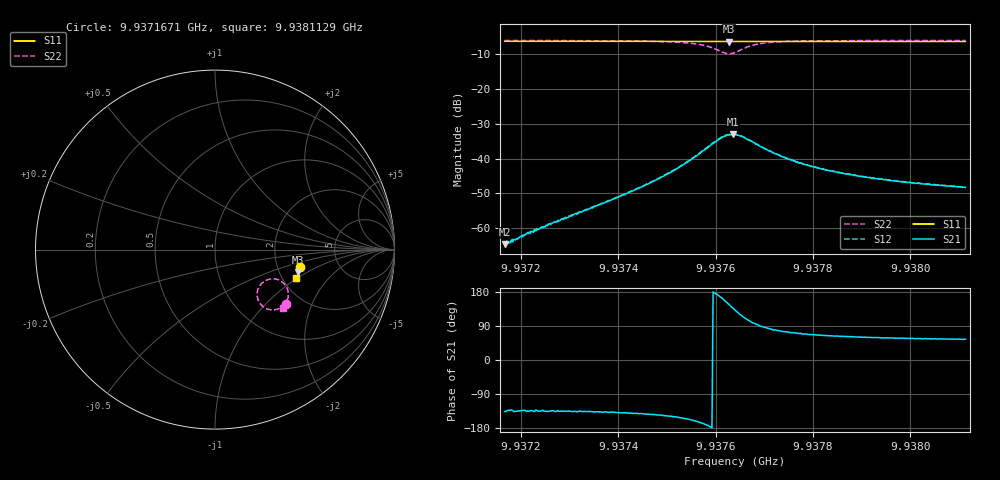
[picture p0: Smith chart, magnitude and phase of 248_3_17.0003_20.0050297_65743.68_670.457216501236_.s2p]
#  HZ  S  RI  R  50.00
! Rohde & Schwarz Vector Network Analyzer
! Rohde-Schwarz,ZNB20-2Port,1311601062101988,3.16
! Created: UTC 3/20/2024, 11:03:10 PM
! freq[Hz]  re:S11  im:S11  re:S21  im:S21  re:S12  im:S12  re:S22  im:S22
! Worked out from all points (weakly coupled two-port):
!   401 points, 9.9371671 GHz to 9.9381129 GHz, reference 50 ohm
!   highest |S21| = -33.02 dB at 9.9376352 GHz (marker M1); lowest = -64.6 dB at 9.9371671 GHz (marker M2)
!   lowest |S11| = -6.4 dB at 9.9376282 GHz (marker M3), VSWR 2.84, Z = 126 - j41.8 ohm
!   |S11| at or under -10 dB: nowhere
!   |S22| runs from -9.9 to -6.1 dB; largest |S21 - S12| = 0.001
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9.93716708e9  0.4739 -0.0983  -0.000425 -0.00041  -0.000402 -0.00038  0.3952 -0.3016
9.9371789e9  0.4737 -0.0989  -0.000437 -0.000468  -0.000439 -0.000429  0.3945 -0.3023
9.93721673e9  0.473 -0.1015  -0.0006 -0.000594  -0.000611 -0.000628  0.3913 -0.3056
9.93723092e9  0.4727 -0.1027  -0.000606 -0.000683  -0.000683 -0.000671  0.3902 -0.3066
9.9373255e9  0.4709 -0.1089  -0.00122 -0.00119  -0.00128 -0.00122  0.3805 -0.3149
9.93741535e9  0.469 -0.115  -0.00234 -0.00202  -0.00243 -0.00205  0.3663 -0.3243
9.93748392e9  0.4675 -0.1198  -0.00425 -0.00294  -0.00439 -0.0029  0.3469 -0.3326
9.93753357e9  0.4661 -0.1232  -0.00729 -0.00364  -0.00748 -0.00355  0.3193 -0.3361
9.93757613e9  0.4644 -0.126  -0.0129 -0.00276  -0.0131 -0.00249  0.2739 -0.3218
9.93759268e9  0.4637 -0.1268  -0.0162 -0.000485  -0.0165 3.33e-05  0.2508 -0.2996
9.93760923e9  0.4627 -0.1276  -0.0189 0.00427  -0.0192 0.00488  0.2353 -0.2587
9.93762815e9  0.4622 -0.1276  -0.0181 0.0122  -0.0182 0.013  0.2527 -0.1969
9.93763524e9  0.4622 -0.1279  -0.0164 0.0152  -0.016 0.0157  0.2718 -0.1788
9.93763997e9  0.4623 -0.1279  -0.0147 0.0165  -0.0143 0.0171  0.2866 -0.1704
9.9376518e9  0.4626 -0.1284  -0.0102 0.0184  -0.00958 0.0189  0.3255 -0.163
9.93766598e9  0.4627 -0.1291  -0.00509 0.018  -0.0047 0.0184  0.363 -0.1734
9.93769436e9  0.4628 -0.1314  0.000376 0.0146  0.000668 0.0148  0.3989 -0.2105
9.93773928e9  0.4624 -0.1347  0.00267 0.0102  0.00289 0.0101  0.4085 -0.2516
9.93779839e9  0.4608 -0.1388  0.00302 0.00707  0.00317 0.00703  0.4041 -0.2789
9.93788824e9  0.4588 -0.1449  0.00277 0.00497  0.00287 0.00499  0.3948 -0.2993
9.93795681e9  0.4571 -0.1495  0.00256 0.00412  0.00265 0.00413  0.3886 -0.309
9.93811287e9  0.4529 -0.1595  0.00222 0.00315  0.0023 0.00312  0.377 -0.3235
